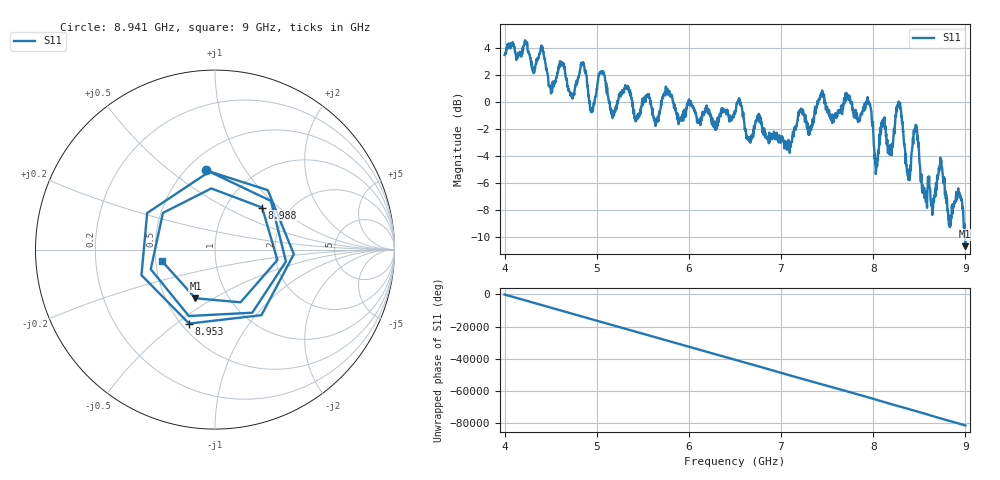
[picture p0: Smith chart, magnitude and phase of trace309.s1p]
! Created with skrf 1.8.0 (http://scikit-rf.org).
# Hz S RI R 50.0
!freq ReS11 ImS11
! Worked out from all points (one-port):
!   1601 points, 4 GHz to 9 GHz, reference 50 ohm
!   lowest |S11| = -10.7 dB at 8.997 GHz (marker M1), VSWR 1.83, Z = 35.1 - j20.8 ohm
!   |S11| at or under -10 dB: 8.99486 GHz to end of sweep
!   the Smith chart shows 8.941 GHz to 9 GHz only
!   S11 on the Smith chart (normalised r, x): 8.941 GHz: 0.62, +0.68; 8.953 GHz: 0.55, -0.56; 8.988 GHz: 1.46, +0.78; 9 GHz: 0.54, -0.07
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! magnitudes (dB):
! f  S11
! 4 GHz  3.5
! 4.406 GHz  4.0
! 4.503 GHz  0.6
! 4.625 GHz  2.9
! 4.731 GHz  0.5
! 4.853 GHz  2.9
! 4.944 GHz  -0.6
! 5.05 GHz  2.2
! 5.169 GHz  -0.8
! 5.25 GHz  0.4
! 5.875 GHz  -1.3
! 6.5 GHz  -0.9
! 7.125 GHz  -2.6
! 7.75 GHz  0.2
! 7.953 GHz  0.0
! 8.034 GHz  -4.9
! 8.194 GHz  -3.9
! 8.281 GHz  -0.1
! 8.375 GHz  -5.5
! 8.459 GHz  -1.8
! 8.559 GHz  -6.9
! 8.728 GHz  -4.1
! 8.828 GHz  -8.4
! 8.941 GHz  -7.1
! 8.953 GHz  -7.2
! 8.988 GHz  -9.1
! 8.997 GHz  -10.7
! 9 GHz  -10.4
